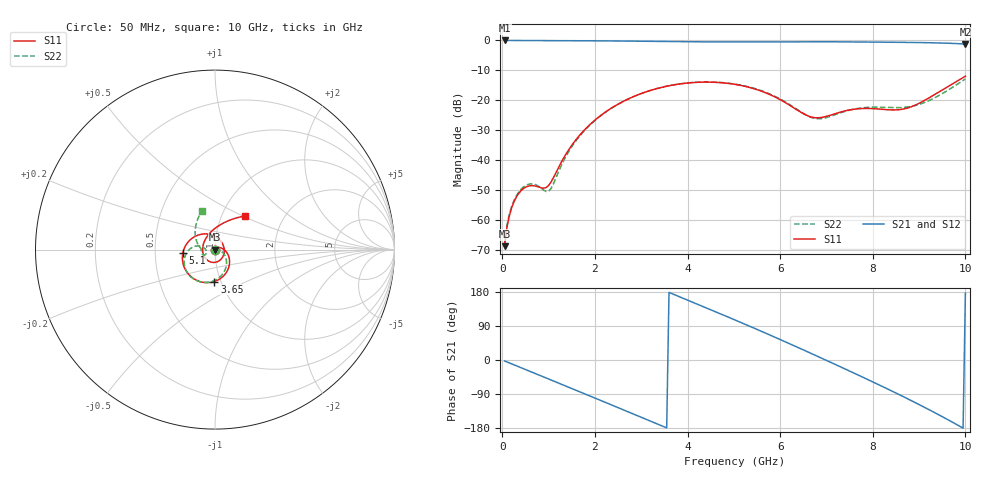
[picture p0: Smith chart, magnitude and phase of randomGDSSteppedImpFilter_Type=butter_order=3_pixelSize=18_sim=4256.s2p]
! freq	dB(S11)	phase(S11)	dB(S12)	phase(S12)
!  dB(S21)	phase(S21)	dB(S22)	phase(S22)
!S-par simulation data
#  GHz  S  DB  R 50
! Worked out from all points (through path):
!   200 points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, 50 MHz to 10 GHz, reference 50 ohm
!   highest |S21| = 0.00 dB at 50 MHz (marker M1); lowest = -1.2 dB at 10 GHz (marker M2)
!   group delay of S21, straight-line fit = 148 ps
!   lowest |S11| = -68.7 dB at 50 MHz (marker M3), VSWR 1.00, Z = 50 - j0.0356 ohm
!   |S11| at or under -10 dB: start of sweep to end of sweep
!   |S22| runs from -67.8 to -12.9 dB; largest |S21 - S12| = 0
!   S11 on the Smith chart (normalised r, x): 50 MHz: 1.00, -0.00; 3.65 GHz: 0.93, -0.34; 5.1 GHz: 0.70, -0.03; 10 GHz: 1.29, +0.52
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0.05  -68.74 -76.8  -0.00 -2.6  -0.00 -2.6  -67.84 -77.3
0.15  -58.73 -88.5  -0.02 -7.6  -0.02 -7.6  -58.19 -83.5
0.35  -51.21 -108.1  -0.02 -17.6  -0.02 -17.6  -50.77 -89.2
0.6  -48.55 -136.6  -0.04 -30.1  -0.04 -30.1  -47.96 -95.7
1  -48.45 129.7  -0.06 -50.1  -0.06 -50.1  -50.38 -52.4
1.4  -37.35 50.8  -0.08 -70.2  -0.08 -70.2  -38.04 -3.3
1.75  -30.30 20.7  -0.10 -87.8  -0.10 -87.8  -30.53 -11.3
2.5  -21.29 -26.8  -0.18 -125.7  -0.18 -125.7  -21.33 -42.6
3.4  -15.83 -77.4  -0.33 -171.5  -0.33 -171.5  -15.82 -84.1
3.65  -14.99 -91.2  -0.38 175.9  -0.38 175.9  -14.97 -95.6
4.3  -13.94 -127.2  -0.47 142.9  -0.47 142.9  -13.89 -125.3
5.05  -14.74 -170.7  -0.49 104.4  -0.49 104.4  -14.64 -158.2
5.1  -14.88 -173.7  -0.49 101.8  -0.49 101.8  -14.77 -160.3
5.85  -18.60 134.2  -0.43 62.1  -0.43 62.1  -18.41 172.5
6.7  -25.69 29.4  -0.42 15.7  -0.42 15.7  -25.86 -177.7
7.45  -23.37 -75.3  -0.48 -26.3  -0.48 -26.3  -23.48 -152.9
7.95  -22.75 -123.9  -0.54 -54.9  -0.54 -54.9  -22.32 -163.6
8.35  -23.18 -166.5  -0.59 -78.2  -0.59 -78.2  -22.40 -173.8
8.75  -22.59 144.3  -0.65 -102.2  -0.65 -102.2  -22.23 177.9
9.1  -20.19 105.9  -0.73 -123.8  -0.73 -123.8  -20.83 168.1
9.6  -15.63 68.9  -0.91 -156.1  -0.91 -156.1  -16.85 140.2
10  -11.95 47.8  -1.20 176.6  -1.20 176.6  -12.89 108.8
